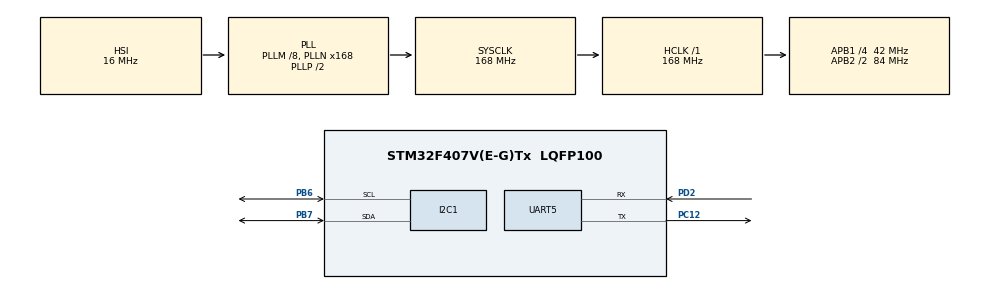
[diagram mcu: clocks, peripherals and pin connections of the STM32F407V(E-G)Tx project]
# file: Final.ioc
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Mcu.Family=STM32F4
Mcu.Name=STM32F407V(E-G)Tx
Mcu.Package=LQFP100
NVIC.PriorityGroup=NVIC_PRIORITYGROUP_0
PA13.Mode=Serial_Wire
PA13.Signal=SYS_JTMS-SWDIO
PA14.Mode=Serial_Wire
PA14.Signal=SYS_JTCK-SWCLK
PB6.Mode=I2C
PB6.Signal=I2C1_SCL
PB7.Mode=I2C
PB7.Signal=I2C1_SDA
PC12.Mode=Asynchronous
PC12.Signal=UART5_TX
PD2.Mode=Asynchronous
PD2.Signal=UART5_RX
ProjectManager.HeapSize=0x200
ProjectManager.StackSize=0x400
ProjectManager.TargetToolchain=STM32CubeIDE
RCC.48MHZClocksFreq_Value=48000000
RCC.AHBFreq_Value=168000000
RCC.APB1CLKDivider=RCC_HCLK_DIV4
RCC.APB1Freq_Value=42000000
RCC.APB1TimFreq_Value=84000000
RCC.APB2CLKDivider=RCC_HCLK_DIV2
RCC.APB2Freq_Value=84000000
RCC.APB2TimFreq_Value=168000000
RCC.CortexFreq_Value=168000000
RCC.HCLKFreq_Value=168000000
RCC.HSE_VALUE=8000000
RCC.HSI_VALUE=16000000
RCC.LSE_VALUE=32768
RCC.PLLM=8
RCC.PLLN=168
RCC.PLLQ=7
RCC.SYSCLKFreq_VALUE=168000000
RCC.SYSCLKSource=RCC_SYSCLKSOURCE_PLLCLK
RCC.VCOOutputFreq_Value=336000000
TIM6.Period=0xffff-1
TIM6.Prescaler=55-1
UART5.VirtualMode=Asynchronous
VP_TIM6_VS_ClockSourceINT.Mode=Enable_Timer
board=STM32F407G-DISC1

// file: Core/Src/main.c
/* USER CODE BEGIN Header */
/**
  ******************************************************************************
  * @file           : main.c
  * @brief          : Main program body
  ******************************************************************************
  * @attention
  *
  * Copyright (c) 2024 STMicroelectronics.
  * All rights reserved.
  *
  * This software is licensed under terms that can be found in the LICENSE file
  * in the root directory of this software component.
  * If no LICENSE file comes with this software, it is provided AS-IS.
  *
  ******************************************************************************
  */
/* USER CODE END Header */
#include "main.h"

/* USER CODE BEGIN Includes */
/* LCD */
#include <stdio.h>
#include<string.h>
#define delay_t				   1
#define LCD_FUNCTION_SET1      0x33
#define LCD_FUNCTION_SET2      0x32
#define LCD_4BIT_2LINE_MODE    0x28
#define LCD_DISP_CURS_ON       0x0E
#define LCD_DISP_ON_CURS_OFF   0x0C  //Display on, cursor off
#define LCD_DISPLAY_OFF        0x08
#define LCD_DISPLAY_ON         0x04
#define LCD_CLEAR_DISPLAY      0x01
#define LCD_ENTRY_MODE_SET     0x04
#define LCD_INCREMENT_CURSER   0x06
#define LCD_SET_ROW1_COL1      0x80  //Force cursor to beginning ( 1st line)
#define LCD_SET_ROW2_COL1      0xC0  //Force cursor to beginning ( 2nd line)
#define LCD_MOVE_DISPLAY_LEFT  0x18
#define LCD_MOVE_DISPLAY_RIGHT 0x1C

#define slave_address      0x3F
#define DS1307_ADDRESS (0x68 << 1)

uint8_t data[5];
/* USER CODE END Includes */

I2C_HandleTypeDef hi2c1;

TIM_HandleTypeDef htim6;

UART_HandleTypeDef huart5;

/* USER CODE BEGIN PV */
uint8_t a = 0;
char sec[2];
char min[2];
char hr[2];
uint8_t hour, minute, second;

char tCelsius_str[5];
		  char RH_str[5];
/* USER CODE END PV */

void SystemClock_Config(void);
static void MX_GPIO_Init(void);
static void MX_I2C1_Init(void);
static void MX_TIM6_Init(void);
static void MX_UART5_Init(void);
uint8_t DHT11_Read (void);
uint8_t DHT11_Start (void);
void microDelay (uint16_t delay);
void i2c_transmit_command(uint8_t data);
void lcd_init(void);
void i2c_transmit_data(uint8_t data);

/* USER CODE BEGIN 0 */

int _write(int file, char *ptr, int len)
{
	HAL_UART_Transmit(&huart5, (uint8_t*)ptr, len, 100);
	return len;
}

uint8_t DEC2BCD(uint8_t dec) {
    return ((dec / 10) << 4) | (dec % 10);
}

uint8_t BCD2DEC(uint8_t bcd) {
    return ((bcd >> 4) * 10) + (bcd & 0x0F);
}

void DS1307_SetTime(uint8_t hour, uint8_t minute, uint8_t second)
{
    uint8_t data[3];
    data[0] = DEC2BCD(second);
    data[1] = DEC2BCD(minute);
    data[2] = DEC2BCD(hour);

    HAL_I2C_Mem_Write(&hi2c1, DS1307_ADDRESS, 0x00, I2C_MEMADD_SIZE_8BIT, data, 3, HAL_MAX_DELAY);
}

void DS1307_GetTime(uint8_t *hour, uint8_t *minute, uint8_t *second) {
    uint8_t data[3];

    HAL_I2C_Mem_Read(&hi2c1, DS1307_ADDRESS, 0x00, I2C_MEMADD_SIZE_8BIT, data, 3, HAL_MAX_DELAY);

    *second = BCD2DEC(data[0]);
    *minute = BCD2DEC(data[1]);
    *hour = BCD2DEC(data[2]);
}

void lcd_init(void) {

	/* Wait for 15ms */
	HAL_Delay(15);

	/*Function Set - As per HD44780U*/
	i2c_transmit_command(LCD_FUNCTION_SET1);

	/*Function Set -As per HD44780U*/
	i2c_transmit_command(LCD_FUNCTION_SET2);

	/*Set 4bit mode and 2 lines */
	i2c_transmit_command(LCD_4BIT_2LINE_MODE);

	/*Display on, cursor off*/
	i2c_transmit_command(0x0C);

	/* SET Row1 and Col1 (1st Line) */
	i2c_transmit_command(0x80);

	/*Clear Display*/
	i2c_transmit_command(LCD_CLEAR_DISPLAY);
}

void i2c_transmit_command(uint8_t data)
{

	uint8_t command_en_on 	= ( (data & 0xF0) | 0x0C); //LED ON, RW = 0, RS = 0, EN =1;
	uint8_t command_en_off 	= ( command_en_on & (~(1 << 2)) );  //LED ON, RW = 0, RS = 0, EN =0;

	HAL_I2C_Master_Transmit(&hi2c1, slave_address << 1, &command_en_on, 1, 100);
	HAL_Delay(2);
	HAL_I2C_Master_Transmit(&hi2c1, slave_address << 1, &command_en_off, 1, 100);

	uint8_t command_lsb_en_on 	= (( (data << 4 ) & 0xF0 ) | 0X0C); //LED ON, RW = 0, RS = 0, EN =1;
	uint8_t command_lsb_en_off 	= ( command_lsb_en_on & (~(1 << 2)) );  //LED ON, RW = 0, RS = 0, EN =0;

	HAL_I2C_Master_Transmit(&hi2c1, slave_address << 1, &command_lsb_en_on, 1, 100);
	HAL_Delay(2);
	HAL_I2C_Master_Transmit(&hi2c1, slave_address << 1, &command_lsb_en_off, 1, 100);

}

void i2c_transmit_data(uint8_t data)
{

	uint8_t data_en_on 	= ( (data & 0xF0) | 0x0D); //LED ON, RW = 0, RS = 0, EN =1;
	uint8_t data_en_off 	= ( data_en_on & (~(1 << 2)) );  //LED ON, RW = 0, RS = 0, EN =0;

	HAL_I2C_Master_Transmit(&hi2c1, slave_address << 1, &data_en_on, 1, 100);
	HAL_Delay(2);
	HAL_I2C_Master_Transmit(&hi2c1, slave_address << 1, &data_en_off, 1, 100);

	uint8_t data_lsb_en_on 	= (( (data << 4 ) & 0xF0 ) | 0X0D); //LED ON, RW = 0, RS = 0, EN =1;
	uint8_t data_lsb_en_off 	= ( data_lsb_en_on & (~(1 << 2)) );  //LED ON, RW = 0, RS = 0, EN =0;

	HAL_I2C_Master_Transmit(&hi2c1, slave_address << 1, &data_lsb_en_on, 1, 100);
	HAL_Delay(2);
	HAL_I2C_Master_Transmit(&hi2c1, slave_address << 1, &data_lsb_en_off, 1, 100);

}

void LCD_Send_String(char *str)
{
	while (*str)
	{
		i2c_transmit_data(*str++);
	}
}

#define DHT11_PORT GPIOA
#define DHT11_PIN GPIO_PIN_1

uint8_t RHI, RHD, TCI, TCD, SUM;
uint32_t pMillis, cMillis;
float tCelsius = 0;
float tFahrenheit = 0;
float RH = 0;
uint8_t TFI = 0;
uint8_t TFD = 0;
char strCopy[15];

void microDelay (uint16_t delay)
{
  __HAL_TIM_SET_COUNTER(&htim6, 0);
  while (__HAL_TIM_GET_COUNTER(&htim6) < delay);
}

uint8_t DHT11_Start (void)
{
  uint8_t Response = 0;
  GPIO_InitTypeDef GPIO_InitStructPrivate = {0};
  GPIO_InitStructPrivate.Pin = DHT11_PIN;
  GPIO_InitStructPrivate.Mode = GPIO_MODE_OUTPUT_PP;
  GPIO_InitStructPrivate.Speed = GPIO_SPEED_FREQ_LOW;
  GPIO_InitStructPrivate.Pull = GPIO_NOPULL;
  HAL_GPIO_Init(DHT11_PORT, &GPIO_InitStructPrivate); // set the pin as output
  HAL_GPIO_WritePin (DHT11_PORT, DHT11_PIN, 0);   // pull the pin low
  HAL_Delay(20);   // wait for 20ms
  HAL_GPIO_WritePin (DHT11_PORT, DHT11_PIN, 1);   // pull the pin high
  microDelay (30);   // wait for 30us
  GPIO_InitStructPrivate.Mode = GPIO_MODE_INPUT;
  GPIO_InitStructPrivate.Pull = GPIO_PULLUP;
  HAL_GPIO_Init(DHT11_PORT, &GPIO_InitStructPrivate); // set the pin as input
  microDelay (40);
  if (!(HAL_GPIO_ReadPin (DHT11_PORT, DHT11_PIN)))
  {
    microDelay (80);
    if ((HAL_GPIO_ReadPin (DHT11_PORT, DHT11_PIN))) Response = 1;
  }
  pMillis = HAL_GetTick();
  cMillis = HAL_GetTick();
  while ((HAL_GPIO_ReadPin (DHT11_PORT, DHT11_PIN)) && pMillis + 2 > cMillis)
  {
    cMillis = HAL_GetTick();
  }
  return Response;
}

uint8_t DHT11_Read (void)
{
  uint8_t a,b;
  for (a=0;a<8;a++)
  {
    pMillis = HAL_GetTick();
    cMillis = HAL_GetTick();
    while (!(HAL_GPIO_ReadPin (DHT11_PORT, DHT11_PIN)) && pMillis + 2 > cMillis)
    {  // wait for the pin to go high
      cMillis = HAL_GetTick();
    }
    microDelay (40);   // wait for 40 us
    if (!(HAL_GPIO_ReadPin (DHT11_PORT, DHT11_PIN)))   // if the pin is low
      b&= ~(1<<(7-a));
    else
      b|= (1<<(7-a));
    pMillis = HAL_GetTick();
    cMillis = HAL_GetTick();
    while ((HAL_GPIO_ReadPin (DHT11_PORT, DHT11_PIN)) && pMillis + 2 > cMillis)
    {  // wait for the pin to go low
      cMillis = HAL_GetTick();
    }
  }
  return b;
}

/* USER CODE END 0 */

int main(void)
{

  /* MCU Configuration--------------------------------------------------------*/

  /* Reset of all peripherals, Initializes the Flash interface and the Systick. */
  HAL_Init();

  /* Configure the system clock */
  SystemClock_Config();

  /* Initialize all configured peripherals */
  MX_GPIO_Init();
  MX_I2C1_Init();
  MX_TIM6_Init();
  MX_UART5_Init();
  /* USER CODE BEGIN 2 */
  lcd_init();
  DS1307_SetTime(18, 37, 4);
  HAL_TIM_Base_Start(&htim6);
  /* USER CODE END 2 */

  /* Infinite loop */
  while (1)
  {

    /* USER CODE BEGIN 3 */

	  if(DHT11_Start())

	      {
		  //i2c_transmit_command(LCD_CLEAR_DISPLAY);
	        RHI = DHT11_Read(); // Relative humidity integral
	        RHD = DHT11_Read(); // Relative humidity decimal
	        TCI = DHT11_Read(); // Celsius integral
	        TCD = DHT11_Read(); // Celsius decimal
	        SUM = DHT11_Read(); // Check sum
	        if (RHI + RHD + TCI + TCD == SUM)
	        {
	          // Can use RHI and TCI for any purposes if whole number only needed
	          tCelsius = (float)TCI + (float)(TCD/10.0);
	          tFahrenheit = tCelsius * 9/5 + 32;
	          RH = (float)RHI + (float)(RHD/10.0);
	          // Can use tCelsius, tFahrenheit and RH for any purposes
	          TFI = tFahrenheit;  // Fahrenheit integral
	          TFD = tFahrenheit*10-TFI*10; // Fahrenheit decimal
			  printf("Temperature 	: %.2f\n\r",tCelsius);
			  printf("Humidity	: %.2f\n\r",RH);

			  sprintf(tCelsius_str,"%.2f",tCelsius);
			  sprintf(RH_str,"%.2f",RH);

			//  i2c_transmit_command(LCD_CLEAR_DISPLAY);
			  i2c_transmit_command(LCD_SET_ROW1_COL1); // Force cursor to begin on 1st row
				  LCD_Send_String("T:");
				  LCD_Send_String(tCelsius_str);
				  LCD_Send_String(" RH:");
				  LCD_Send_String(RH_str);
	      }
	      }
	 // i2c_transmit_command(LCD_CLEAR_DISPLAY);
      DS1307_GetTime(&hour, &minute, &second);

	  sprintf(sec,"%02u",second);
	  sprintf(min,"%02u",minute);
	  sprintf(hr,"%02u",hour);
	 // i2c_transmit_command(LCD_CLEAR_DISPLAY);

	  i2c_transmit_command(LCD_SET_ROW2_COL1); // Force cursor to begin on 1st row

	  LCD_Send_String("Time: ");
	  LCD_Send_String(hr);
	  LCD_Send_String(":");
	  LCD_Send_String(min);
		  LCD_Send_String(":");
		  LCD_Send_String(sec);

  }
  /* USER CODE END 3 */
}

void SystemClock_Config(void)
{
  RCC_OscInitTypeDef RCC_OscInitStruct = {0};
  RCC_ClkInitTypeDef RCC_ClkInitStruct = {0};

  /** Configure the main internal regulator output voltage
  */
  __HAL_RCC_PWR_CLK_ENABLE();
  __HAL_PWR_VOLTAGESCALING_CONFIG(PWR_REGULATOR_VOLTAGE_SCALE1);

  /** Initializes the RCC Oscillators according to the specified parameters
  * in the RCC_OscInitTypeDef structure.
  */
  RCC_OscInitStruct.OscillatorType = RCC_OSCILLATORTYPE_HSI;
  RCC_OscInitStruct.HSIState = RCC_HSI_ON;
  RCC_OscInitStruct.HSICalibrationValue = RCC_HSICALIBRATION_DEFAULT;
  RCC_OscInitStruct.PLL.PLLState = RCC_PLL_ON;
  RCC_OscInitStruct.PLL.PLLSource = RCC_PLLSOURCE_HSI;
  RCC_OscInitStruct.PLL.PLLM = 8;
  RCC_OscInitStruct.PLL.PLLN = 168;
  RCC_OscInitStruct.PLL.PLLP = RCC_PLLP_DIV2;
  RCC_OscInitStruct.PLL.PLLQ = 7;
  if (HAL_RCC_OscConfig(&RCC_OscInitStruct) != HAL_OK)
  {
    Error_Handler();
  }

  /** Initializes the CPU, AHB and APB buses clocks
  */
  RCC_ClkInitStruct.ClockType = RCC_CLOCKTYPE_HCLK|RCC_CLOCKTYPE_SYSCLK
                              |RCC_CLOCKTYPE_PCLK1|RCC_CLOCKTYPE_PCLK2;
  RCC_ClkInitStruct.SYSCLKSource = RCC_SYSCLKSOURCE_PLLCLK;
  RCC_ClkInitStruct.AHBCLKDivider = RCC_SYSCLK_DIV1;
  RCC_ClkInitStruct.APB1CLKDivider = RCC_HCLK_DIV4;
  RCC_ClkInitStruct.APB2CLKDivider = RCC_HCLK_DIV2;

  if (HAL_RCC_ClockConfig(&RCC_ClkInitStruct, FLASH_LATENCY_5) != HAL_OK)
  {
    Error_Handler();
  }
}

static void MX_I2C1_Init(void)
{

  hi2c1.Instance = I2C1;
  hi2c1.Init.ClockSpeed = 100000;
  hi2c1.Init.DutyCycle = I2C_DUTYCYCLE_2;
  hi2c1.Init.OwnAddress1 = 0;
  hi2c1.Init.AddressingMode = I2C_ADDRESSINGMODE_7BIT;
  hi2c1.Init.DualAddressMode = I2C_DUALADDRESS_DISABLE;
  hi2c1.Init.OwnAddress2 = 0;
  hi2c1.Init.GeneralCallMode = I2C_GENERALCALL_DISABLE;
  hi2c1.Init.NoStretchMode = I2C_NOSTRETCH_DISABLE;
  if (HAL_I2C_Init(&hi2c1) != HAL_OK)
  {
    Error_Handler();
  }

}

static void MX_TIM6_Init(void)
{

  TIM_MasterConfigTypeDef sMasterConfig = {0};

  htim6.Instance = TIM6;
  htim6.Init.Prescaler = 55-1;
  htim6.Init.CounterMode = TIM_COUNTERMODE_UP;
  htim6.Init.Period = 0xffff-1;
  htim6.Init.AutoReloadPreload = TIM_AUTORELOAD_PRELOAD_DISABLE;
  if (HAL_TIM_Base_Init(&htim6) != HAL_OK)
  {
    Error_Handler();
  }
  sMasterConfig.MasterOutputTrigger = TIM_TRGO_RESET;
  sMasterConfig.MasterSlaveMode = TIM_MASTERSLAVEMODE_DISABLE;
  if (HAL_TIMEx_MasterConfigSynchronization(&htim6, &sMasterConfig) != HAL_OK)
  {
    Error_Handler();
  }

}

static void MX_UART5_Init(void)
{

  huart5.Instance = UART5;
  huart5.Init.BaudRate = 115200;
  huart5.Init.WordLength = UART_WORDLENGTH_8B;
  huart5.Init.StopBits = UART_STOPBITS_1;
  huart5.Init.Parity = UART_PARITY_NONE;
  huart5.Init.Mode = UART_MODE_TX_RX;
  huart5.Init.HwFlowCtl = UART_HWCONTROL_NONE;
  huart5.Init.OverSampling = UART_OVERSAMPLING_16;
  if (HAL_UART_Init(&huart5) != HAL_OK)
  {
    Error_Handler();
  }

}

static void MX_GPIO_Init(void)
{

  /* GPIO Ports Clock Enable */
  __HAL_RCC_GPIOA_CLK_ENABLE();
  __HAL_RCC_GPIOC_CLK_ENABLE();
  __HAL_RCC_GPIOD_CLK_ENABLE();
  __HAL_RCC_GPIOB_CLK_ENABLE();

}

void Error_Handler(void)
{
  __disable_irq();
  while (1)
  {
  }
}
